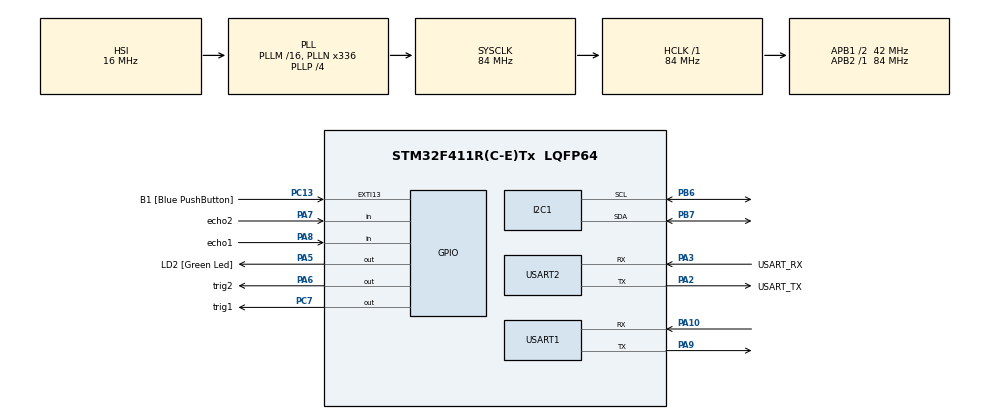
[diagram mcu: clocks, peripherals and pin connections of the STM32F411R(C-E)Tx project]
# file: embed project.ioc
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Mcu.Family=STM32F4
RCC.CortexFreq_Value=84000000
PA14.GPIO_Label=TCK
PA6.GPIO_Label=trig2
RCC.SYSCLKSource=RCC_SYSCLKSOURCE_PLLCLK
ProjectManager.StackSize=0x400
TIM1.Prescaler=84-1
PH0\ -\ OSC_IN.Signal=RCC_OSC_IN
RCC.HCLKFreq_Value=84000000
RCC.APB2TimFreq_Value=84000000
PB6.Signal=I2C1_SCL
PC7.Signal=GPIO_Output
PB6.Mode=I2C
RCC.AHBFreq_Value=84000000
RCC.HSE_VALUE=8000000
PC13-ANTI_TAMP.Signal=GPXTI13
PC14-OSC32_IN.Mode=LSE-External-Oscillator
PA14.Mode=Serial_Wire
TIM3.Prescaler=84-1
PB7.Signal=I2C1_SDA
PA8.Signal=GPIO_Input
TIM4.Period=10000
VP_TIM1_VS_ClockSourceINT.Mode=Internal
RCC.FLatency-AdvancedSettings=FLASH_LATENCY_2
Mcu.Package=LQFP64
PA6.Signal=GPIO_Output
USART2.VirtualMode=VM_ASYNC
PA2.GPIO_Label=USART_TX
PA10.Signal=USART1_RX
RCC.APB1TimFreq_Value=84000000
VP_TIM3_VS_ClockSourceINT.Mode=Internal
PA3.Signal=USART2_RX
PB3.GPIO_Label=SWO
PC15-OSC32_OUT.Mode=LSE-External-Oscillator
PA10.Mode=Asynchronous
PC13-ANTI_TAMP.GPIO_Label=B1 [Blue PushButton]
PH1\ -\ OSC_OUT.Mode=HSE-External-Clock-Source
RCC.APB1CLKDivider=RCC_HCLK_DIV2
PC14-OSC32_IN.Signal=RCC_OSC32_IN
PA13.Signal=SYS_JTMS-SWDIO
PA3.Mode=Asynchronous
PA9.Mode=Asynchronous
PH0\ -\ OSC_IN.Mode=HSE-External-Clock-Source
PA8.GPIO_Label=echo1
ProjectManager.TargetToolchain=STM32CubeIDE
PA9.Signal=USART1_TX
TIM4.Prescaler=8400
PC15-OSC32_OUT.Signal=RCC_OSC32_OUT
PA5.Signal=GPIO_Output
PH1\ -\ OSC_OUT.Signal=RCC_OSC_OUT
board=NUCLEO-F411RE
RCC.VCOOutputFreq_Value=336000000
RCC.APB2Freq_Value=84000000
PA13.Mode=Serial_Wire
Mcu.Name=STM32F411R(C-E)Tx
PA13.GPIO_Label=TMS
PA2.Signal=USART2_TX
PC7.GPIO_Label=trig1
RCC.48MHZClocksFreq_Value=84000000
PB3.Signal=SYS_JTDO-SWO
RCC.SYSCLKFreq_VALUE=84000000
PA7.GPIO_Label=echo2
PA5.GPIO_Label=LD2 [Green Led]
USART1.VirtualMode=VM_ASYNC
PC13-ANTI_TAMP.GPIO_ModeDefaultEXTI=GPIO_MODE_IT_FALLING
PB7.Mode=I2C
PA14.Signal=SYS_JTCK-SWCLK
ProjectManager.HeapSize=0x200
RCC.HSI_VALUE=16000000
VP_TIM4_VS_ClockSourceINT.Mode=Internal
RCC.PLLP=RCC_PLLP_DIV4
NVIC.PriorityGroup=NVIC_PRIORITYGROUP_4
RCC.PLLN=336
PA2.Mode=Asynchronous
NVIC.TIM4_IRQn=true\:0\:0\:false\:false\:true\:true\:true
RCC.APB1Freq_Value=42000000
PA3.GPIO_Label=USART_RX
PA7.Signal=GPIO_Input

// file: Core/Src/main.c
/* USER CODE BEGIN Header */
/**
  ******************************************************************************
  * @file           : main.c
  * @brief          : Main program body
  ******************************************************************************
  * @attention
  *
  * <h2><center>&copy; Copyright (c) 2021 STMicroelectronics.
  * All rights reserved.</center></h2>
  *
  * This software component is licensed by ST under BSD 3-Clause license,
  * the "License"; You may not use this file except in compliance with the
  * License. You may obtain a copy of the License at:
  *                        opensource.org/licenses/BSD-3-Clause
  *
  ******************************************************************************
  */
/* USER CODE END Header */
#include "main.h"

/* USER CODE BEGIN Includes */
#include "ssd1306.h"
#include "ssd1306_fonts.h"
#include "string.h"

/* USER CODE END Includes */

I2C_HandleTypeDef hi2c1;

TIM_HandleTypeDef htim1;
TIM_HandleTypeDef htim3;
TIM_HandleTypeDef htim4;

UART_HandleTypeDef huart1;
UART_HandleTypeDef huart2;

/* USER CODE BEGIN PV */
int count = 0;
int prevZero = 0;
int threshold1 = 0;
int threshold2 = 0;
int threshold3 = 0;
int threshold4 = 0;
int state = 0;
int counter = 0;
int whileState = 0;
char in[2];
char in2[128];
int len = 0;
int arr[4];
/* USER CODE END PV */

void SystemClock_Config(void);
static void MX_GPIO_Init(void);
static void MX_USART2_UART_Init(void);
static void MX_I2C1_Init(void);
static void MX_TIM1_Init(void);
static void MX_TIM3_Init(void);
static void MX_USART1_UART_Init(void);
static void MX_TIM4_Init(void);

/* USER CODE BEGIN 0 */

// delay in microsecond
void delay_us(int us){
	TIM1->CNT = 0;
	while (TIM1->CNT < us);
}
//get distance from the sensor
int get_distance(int sensor){
	GPIO_TypeDef* trig_port;
	uint16_t trig_pin;
	GPIO_TypeDef* echo_port;
	uint16_t echo_pin;
	if (sensor == 1){
		trig_port = trig1_GPIO_Port;
		trig_pin = trig1_Pin;
		echo_port = echo1_GPIO_Port;
		echo_pin = echo1_Pin;
	}else{
		trig_port = trig2_GPIO_Port;
		trig_pin = trig2_Pin;
		echo_port = echo2_GPIO_Port;
		echo_pin = echo2_Pin;
	}
	long duration;
	HAL_GPIO_WritePin(trig_port, trig_pin, GPIO_PIN_RESET);
	delay_us(2);
	HAL_GPIO_WritePin(trig_port, trig_pin, GPIO_PIN_SET);
	delay_us(10);
	HAL_GPIO_WritePin(trig_port, trig_pin, GPIO_PIN_RESET);
	while (HAL_GPIO_ReadPin(echo_port, echo_pin) != 1);
	TIM3->CNT = 0;
	while (HAL_GPIO_ReadPin(echo_port, echo_pin) != 0);
	duration = TIM3->CNT;
	return duration*0.034/2;
}
// display on lcd screen
void display(){
	//cap, airconOn, airconTemp, light1,light2,light3,light4,light
	ssd1306_Fill(Black);
	char line1[100];
	char line2[100];
	sprintf(line1, "%d/%d", count, arr[0]);
	if (arr[1]){
		sprintf(line2, "aircon: %d", arr[2]);
	}else{
		sprintf(line2, "aircon: off");
	}

	ssd1306_Fill(Black);
	ssd1306_SetCursor(0, 0);
	ssd1306_WriteString(line1, Font_11x18, White);
	ssd1306_SetCursor(0, 22);
	ssd1306_WriteString(line2, Font_7x10, White);
	ssd1306_DrawRectangle(80, 24, 85, 29, White);
	ssd1306_DrawRectangle(90, 24, 95, 29, White);
	ssd1306_DrawRectangle(100, 24, 105, 29, White);
	ssd1306_DrawRectangle(110, 24, 115, 29, White);
	ssd1306_DrawRectangle(120, 24, 125, 29, White);
	// to fill the rectangle
	for (int k=0;k<5;k++){
		if (arr[3+k]){
			for (int i = 80+(10*k);i<85+(10*k);i++){
			  for (int j=24;j<29;j++){
				  ssd1306_DrawPixel(i, j, White);
			  }
			}
		}
	}
	ssd1306_UpdateScreen();
}

/* USER CODE END 0 */

int main(void)
{

  /* MCU Configuration--------------------------------------------------------*/

  /* Reset of all peripherals, Initializes the Flash interface and the Systick. */
  HAL_Init();

  /* Configure the system clock */
  SystemClock_Config();

  /* Initialize all configured peripherals */
  MX_GPIO_Init();
  MX_USART2_UART_Init();
  MX_I2C1_Init();
  MX_TIM1_Init();
  MX_TIM3_Init();
  MX_USART1_UART_Init();
  MX_TIM4_Init();
  /* USER CODE BEGIN 2 */
  HAL_TIM_Base_Start(&htim1);
  HAL_TIM_Base_Start(&htim3);
//  HAL_TIM_Base_Start_IT(&htim4);
  char out[50];
  char text1[50];
  char text2[50];
  ssd1306_Init();
  HAL_Delay(1000);

  ssd1306_Fill(Black);
  ssd1306_UpdateScreen();

  int distance1 = get_distance(1);
  int distance2 = get_distance(2);
  threshold1 = (int)((float)distance1*0.3);
  threshold2 = (int)((float)distance2*0.3);
  threshold3 = (int)((float)distance1*0.9);
  threshold4 = (int)((float)distance2*0.9);

  HAL_TIM_Base_Stop_IT(&htim4);
  TIM4->CNT = 0;

  char temp[2];
  sprintf(temp, "-1"); // request data
  HAL_UART_Transmit(&huart1, temp, strlen(temp), 100);
// for getting the first set of data
  while(1){
	if (whileState == 0){
	  if (HAL_UART_Receive(&huart1, &in, 2, 100) == HAL_OK){
		  len = atoi(in);
		  sprintf(in, "%d\n\r", len);
		  HAL_UART_Transmit(&huart2, &in, strlen(in), 100);
		  whileState = 1;
	  }
	}else if (whileState == 1){
	  if (HAL_UART_Receive(&huart1, &in2, len, 100) == HAL_OK){
		  HAL_UART_Transmit(&huart2, &in2, len, 100);
		  char temp2[2];
		  sprintf(temp2, "0");
		  HAL_UART_Transmit(&huart1, temp2, strlen(temp2), 100);
		  prevZero = 1;
		  char *pt;
		  pt = strtok(in2, ",");
		  for(int i=0; i<8;i++){
			  arr[i] = atoi(pt);
			  sprintf(out, "%d\r\n", arr[i]);
			  pt = strtok (NULL, ",");
		  }
		  if (count == 0){
			prevZero = 1;
			arr[1] = 0;
			arr[3] = 0;
			arr[4] = 0;
			arr[5] = 0;
			arr[6] = 0;
			arr[7] = 0;
		}
		  whileState = 0;
		  break;
	  }
	}

  }
  display();

  /* USER CODE END 2 */

  /* Infinite loop */
  /* USER CODE BEGIN WHILE */
  while (1)
  {
//	  int distance1 = get_distance(1);
//	  HAL_Delay(10);
//	  int distance2 = get_distance(2);
//	  sprintf(out, "sensor1: %d sensor2: %d\r\n", distance1, distance2);
//	  HAL_UART_Transmit(&huart2, &out, strlen(out), 100);
	  if (whileState == 0){
		  calSensor();
//		  sprintf(out, "count: %d state: %d\r\n", count, state);
//		  HAL_UART_Transmit(&huart2, &out, strlen(out), 100);
		  if (HAL_UART_Receive(&huart1, &in, 2, 100) == HAL_OK){
			  len = atoi(in);
			  sprintf(in, "%d\n\r", len);
//			  HAL_UART_Transmit(&huart2, &in, strlen(in), 100);
			  whileState = 1;
		  }
	  }else if (whileState == 1){
		  if (HAL_UART_Receive(&huart1, &in2, len, 100) == HAL_OK){
//			  HAL_UART_Transmit(&huart2, &in2, len, 100);
//			  HAL_UART_Transmit(&huart2, "\r\n", 2, 100);
			  char *pt;
			  pt = strtok(in2, ",");
			  for(int i=0; i<8;i++){
				  arr[i] = atoi(pt);
				  sprintf(out, "%d\r\n", arr[i]);
//				  HAL_UART_Transmit(&huart2, out, strlen(out), 100);
				  pt = strtok (NULL, ",");
			  }

			  display();

			  whileState = 0;
		  }
	  }

//	  HAL_Delay(25);
    /* USER CODE END WHILE */

  }
}

void SystemClock_Config(void)
{
  RCC_OscInitTypeDef RCC_OscInitStruct = {0};
  RCC_ClkInitTypeDef RCC_ClkInitStruct = {0};

  /** Configure the main internal regulator output voltage
  */
  __HAL_RCC_PWR_CLK_ENABLE();
  __HAL_PWR_VOLTAGESCALING_CONFIG(PWR_REGULATOR_VOLTAGE_SCALE1);
  /** Initializes the RCC Oscillators according to the specified parameters
  * in the RCC_OscInitTypeDef structure.
  */
  RCC_OscInitStruct.OscillatorType = RCC_OSCILLATORTYPE_HSI;
  RCC_OscInitStruct.HSIState = RCC_HSI_ON;
  RCC_OscInitStruct.HSICalibrationValue = RCC_HSICALIBRATION_DEFAULT;
  RCC_OscInitStruct.PLL.PLLState = RCC_PLL_ON;
  RCC_OscInitStruct.PLL.PLLSource = RCC_PLLSOURCE_HSI;
  RCC_OscInitStruct.PLL.PLLM = 16;
  RCC_OscInitStruct.PLL.PLLN = 336;
  RCC_OscInitStruct.PLL.PLLP = RCC_PLLP_DIV4;
  RCC_OscInitStruct.PLL.PLLQ = 4;
  if (HAL_RCC_OscConfig(&RCC_OscInitStruct) != HAL_OK)
  {
    Error_Handler();
  }
  /** Initializes the CPU, AHB and APB buses clocks
  */
  RCC_ClkInitStruct.ClockType = RCC_CLOCKTYPE_HCLK|RCC_CLOCKTYPE_SYSCLK
                              |RCC_CLOCKTYPE_PCLK1|RCC_CLOCKTYPE_PCLK2;
  RCC_ClkInitStruct.SYSCLKSource = RCC_SYSCLKSOURCE_PLLCLK;
  RCC_ClkInitStruct.AHBCLKDivider = RCC_SYSCLK_DIV1;
  RCC_ClkInitStruct.APB1CLKDivider = RCC_HCLK_DIV2;
  RCC_ClkInitStruct.APB2CLKDivider = RCC_HCLK_DIV1;

  if (HAL_RCC_ClockConfig(&RCC_ClkInitStruct, FLASH_LATENCY_2) != HAL_OK)
  {
    Error_Handler();
  }
}

static void MX_I2C1_Init(void)
{

  hi2c1.Instance = I2C1;
  hi2c1.Init.ClockSpeed = 100000;
  hi2c1.Init.DutyCycle = I2C_DUTYCYCLE_2;
  hi2c1.Init.OwnAddress1 = 0;
  hi2c1.Init.AddressingMode = I2C_ADDRESSINGMODE_7BIT;
  hi2c1.Init.DualAddressMode = I2C_DUALADDRESS_DISABLE;
  hi2c1.Init.OwnAddress2 = 0;
  hi2c1.Init.GeneralCallMode = I2C_GENERALCALL_DISABLE;
  hi2c1.Init.NoStretchMode = I2C_NOSTRETCH_DISABLE;
  if (HAL_I2C_Init(&hi2c1) != HAL_OK)
  {
    Error_Handler();
  }

}

static void MX_TIM1_Init(void)
{

  TIM_ClockConfigTypeDef sClockSourceConfig = {0};
  TIM_MasterConfigTypeDef sMasterConfig = {0};

  htim1.Instance = TIM1;
  htim1.Init.Prescaler = 84-1;
  htim1.Init.CounterMode = TIM_COUNTERMODE_UP;
  htim1.Init.Period = 65535;
  htim1.Init.ClockDivision = TIM_CLOCKDIVISION_DIV1;
  htim1.Init.RepetitionCounter = 0;
  htim1.Init.AutoReloadPreload = TIM_AUTORELOAD_PRELOAD_DISABLE;
  if (HAL_TIM_Base_Init(&htim1) != HAL_OK)
  {
    Error_Handler();
  }
  sClockSourceConfig.ClockSource = TIM_CLOCKSOURCE_INTERNAL;
  if (HAL_TIM_ConfigClockSource(&htim1, &sClockSourceConfig) != HAL_OK)
  {
    Error_Handler();
  }
  sMasterConfig.MasterOutputTrigger = TIM_TRGO_RESET;
  sMasterConfig.MasterSlaveMode = TIM_MASTERSLAVEMODE_DISABLE;
  if (HAL_TIMEx_MasterConfigSynchronization(&htim1, &sMasterConfig) != HAL_OK)
  {
    Error_Handler();
  }

}

static void MX_TIM3_Init(void)
{

  TIM_ClockConfigTypeDef sClockSourceConfig = {0};
  TIM_MasterConfigTypeDef sMasterConfig = {0};

  htim3.Instance = TIM3;
  htim3.Init.Prescaler = 84-1;
  htim3.Init.CounterMode = TIM_COUNTERMODE_UP;
  htim3.Init.Period = 65535;
  htim3.Init.ClockDivision = TIM_CLOCKDIVISION_DIV1;
  htim3.Init.AutoReloadPreload = TIM_AUTORELOAD_PRELOAD_DISABLE;
  if (HAL_TIM_Base_Init(&htim3) != HAL_OK)
  {
    Error_Handler();
  }
  sClockSourceConfig.ClockSource = TIM_CLOCKSOURCE_INTERNAL;
  if (HAL_TIM_ConfigClockSource(&htim3, &sClockSourceConfig) != HAL_OK)
  {
    Error_Handler();
  }
  sMasterConfig.MasterOutputTrigger = TIM_TRGO_RESET;
  sMasterConfig.MasterSlaveMode = TIM_MASTERSLAVEMODE_DISABLE;
  if (HAL_TIMEx_MasterConfigSynchronization(&htim3, &sMasterConfig) != HAL_OK)
  {
    Error_Handler();
  }

}

static void MX_TIM4_Init(void)
{

  TIM_ClockConfigTypeDef sClockSourceConfig = {0};
  TIM_MasterConfigTypeDef sMasterConfig = {0};

  htim4.Instance = TIM4;
  htim4.Init.Prescaler = 8400;
  htim4.Init.CounterMode = TIM_COUNTERMODE_UP;
  htim4.Init.Period = 10000;
  htim4.Init.ClockDivision = TIM_CLOCKDIVISION_DIV1;
  htim4.Init.AutoReloadPreload = TIM_AUTORELOAD_PRELOAD_DISABLE;
  if (HAL_TIM_Base_Init(&htim4) != HAL_OK)
  {
    Error_Handler();
  }
  sClockSourceConfig.ClockSource = TIM_CLOCKSOURCE_INTERNAL;
  if (HAL_TIM_ConfigClockSource(&htim4, &sClockSourceConfig) != HAL_OK)
  {
    Error_Handler();
  }
  sMasterConfig.MasterOutputTrigger = TIM_TRGO_RESET;
  sMasterConfig.MasterSlaveMode = TIM_MASTERSLAVEMODE_DISABLE;
  if (HAL_TIMEx_MasterConfigSynchronization(&htim4, &sMasterConfig) != HAL_OK)
  {
    Error_Handler();
  }

}

static void MX_USART1_UART_Init(void)
{

  huart1.Instance = USART1;
  huart1.Init.BaudRate = 115200;
  huart1.Init.WordLength = UART_WORDLENGTH_8B;
  huart1.Init.StopBits = UART_STOPBITS_1;
  huart1.Init.Parity = UART_PARITY_NONE;
  huart1.Init.Mode = UART_MODE_TX_RX;
  huart1.Init.HwFlowCtl = UART_HWCONTROL_NONE;
  huart1.Init.OverSampling = UART_OVERSAMPLING_16;
  if (HAL_UART_Init(&huart1) != HAL_OK)
  {
    Error_Handler();
  }

}

static void MX_USART2_UART_Init(void)
{

  huart2.Instance = USART2;
  huart2.Init.BaudRate = 115200;
  huart2.Init.WordLength = UART_WORDLENGTH_8B;
  huart2.Init.StopBits = UART_STOPBITS_1;
  huart2.Init.Parity = UART_PARITY_NONE;
  huart2.Init.Mode = UART_MODE_TX_RX;
  huart2.Init.HwFlowCtl = UART_HWCONTROL_NONE;
  huart2.Init.OverSampling = UART_OVERSAMPLING_16;
  if (HAL_UART_Init(&huart2) != HAL_OK)
  {
    Error_Handler();
  }

}

static void MX_GPIO_Init(void)
{
  GPIO_InitTypeDef GPIO_InitStruct = {0};

  /* GPIO Ports Clock Enable */
  __HAL_RCC_GPIOC_CLK_ENABLE();
  __HAL_RCC_GPIOH_CLK_ENABLE();
  __HAL_RCC_GPIOA_CLK_ENABLE();
  __HAL_RCC_GPIOB_CLK_ENABLE();

  /*Configure GPIO pin Output Level */
  HAL_GPIO_WritePin(GPIOA, LD2_Pin|trig2_Pin, GPIO_PIN_RESET);

  /*Configure GPIO pin Output Level */
  HAL_GPIO_WritePin(trig1_GPIO_Port, trig1_Pin, GPIO_PIN_RESET);

  /*Configure GPIO pin : B1_Pin */
  GPIO_InitStruct.Pin = B1_Pin;
  GPIO_InitStruct.Mode = GPIO_MODE_IT_FALLING;
  GPIO_InitStruct.Pull = GPIO_NOPULL;
  HAL_GPIO_Init(B1_GPIO_Port, &GPIO_InitStruct);

  /*Configure GPIO pins : LD2_Pin trig2_Pin */
  GPIO_InitStruct.Pin = LD2_Pin|trig2_Pin;
  GPIO_InitStruct.Mode = GPIO_MODE_OUTPUT_PP;
  GPIO_InitStruct.Pull = GPIO_NOPULL;
  GPIO_InitStruct.Speed = GPIO_SPEED_FREQ_LOW;
  HAL_GPIO_Init(GPIOA, &GPIO_InitStruct);

  /*Configure GPIO pins : echo2_Pin echo1_Pin */
  GPIO_InitStruct.Pin = echo2_Pin|echo1_Pin;
  GPIO_InitStruct.Mode = GPIO_MODE_INPUT;
  GPIO_InitStruct.Pull = GPIO_NOPULL;
  HAL_GPIO_Init(GPIOA, &GPIO_InitStruct);

  /*Configure GPIO pin : trig1_Pin */
  GPIO_InitStruct.Pin = trig1_Pin;
  GPIO_InitStruct.Mode = GPIO_MODE_OUTPUT_PP;
  GPIO_InitStruct.Pull = GPIO_NOPULL;
  GPIO_InitStruct.Speed = GPIO_SPEED_FREQ_LOW;
  HAL_GPIO_Init(trig1_GPIO_Port, &GPIO_InitStruct);

}

/* USER CODE BEGIN 4 */
// timer for edge cases, sometimes it stucks in 1 state
void HAL_TIM_PeriodElapsedCallback(TIM_HandleTypeDef *htim){
	if (htim == &htim4){
		state = 0;
		HAL_TIM_Base_Stop_IT(&htim4);
		TIM4->CNT = 0;
	}
}
// check if a person go in or go out
void calSensor(){
	int distance1 = get_distance(1);
	HAL_Delay(10);
	int distance2 = get_distance(2);
//	char out1[50];
//	sprintf(out1, "sensor1: %d sensor2: %d\r\n", distance1, distance2);
//	HAL_UART_Transmit(&huart2, &out1, strlen(out1), 100);
	if (state == 0){
		if (distance1 < threshold1){
			state = 1;
			HAL_TIM_Base_Start_IT(&htim4);
		}else if (distance2 < threshold2){
			state = 2;
			HAL_TIM_Base_Start_IT(&htim4);
		}
	}else if (state == 1){
		if (distance2 < threshold2){
			state = 3;
		}
	}else if (state == 2){
		if (distance1 < threshold1){
			state = 4;
		}
	}else if (state == 3){
		if (distance2 > threshold4){
			state = 0;
			count++;
			// auto open air/light
			if (count == 1 && prevZero){
				arr[1] = 1;
				arr[3] = 1;
				arr[4] = 1;
				arr[5] = 1;
				arr[6] = 1;
				arr[7] = 1;
			}
			prevZero = 0;
			char out[5];
			sprintf(out, "%d", count);
			HAL_UART_Transmit(&huart1, &out, strlen(out), 100);
			 HAL_TIM_Base_Stop_IT(&htim4);
			 TIM4->CNT = 0;
			display();
			HAL_Delay(250);
		}
	}else if (state == 4){
		if (distance1 > threshold3){
			state = 0;
			count--;
			if (count < 0){
				count = 0;
			}
			// auto close air/light
			if (count == 0){
				prevZero = 1;
				arr[1] = 0;
				arr[3] = 0;
				arr[4] = 0;
				arr[5] = 0;
				arr[6] = 0;
				arr[7] = 0;
			}
			char out[5];
			sprintf(out, "%d", count);
			HAL_UART_Transmit(&huart1, &out, strlen(out), 100);
			 HAL_TIM_Base_Stop_IT(&htim4);
			 TIM4->CNT = 0;
			 display();
			HAL_Delay(250);
		}
	}

	HAL_Delay(10);
	return;
}

/* USER CODE END 4 */

void Error_Handler(void)
{
  __disable_irq();
  while (1)
  {
  }
}

/************************ (C) COPYRIGHT STMicroelectronics *****END OF FILE****/
